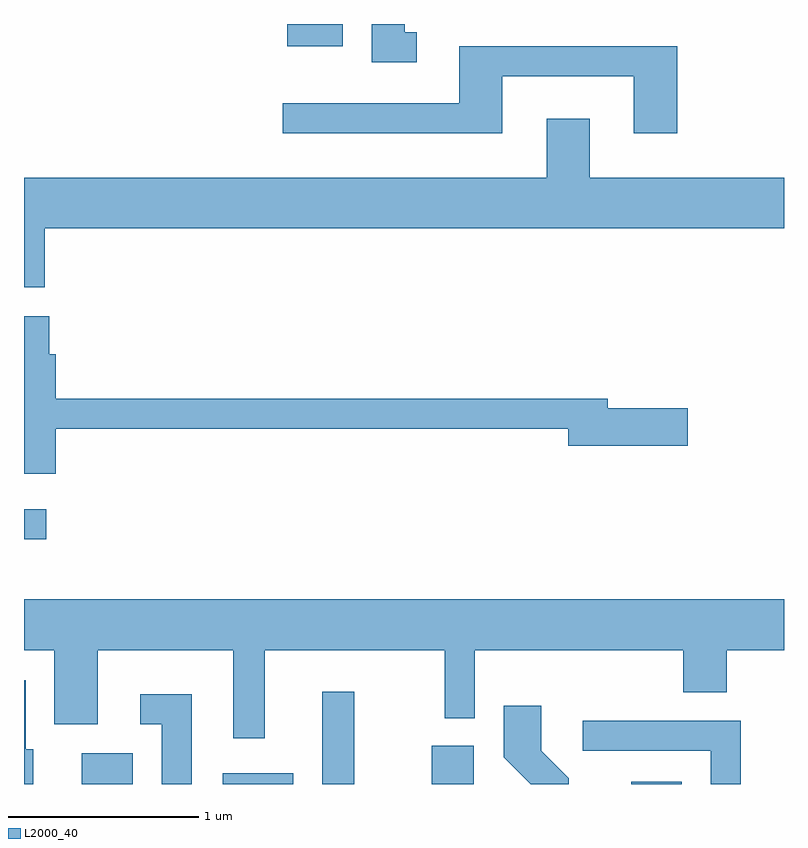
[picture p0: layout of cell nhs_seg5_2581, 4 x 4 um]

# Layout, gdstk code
import gdstk
lib = gdstk.Library(unit=1e-6, precision=1e-09)
def R(c, l, rs):  # rectangles x0, y0, x1, y1
    for r in rs: c.add(gdstk.rectangle(r[:2], r[2:], *l))
def P(c, l, *ps):  # polygons
    for p in ps: c.add(gdstk.Polygon(p, *l))
L2000_40 = (2000, 40)

nhs_seg5_2581 = lib.new_cell('nhs_seg5_2581')
R(nhs_seg5_2581, L2000_40, [(261.916,1476.072,262.184,1476.234), (262.656,1476.072,263.029,1476.129), (263.181,1476.072,263.349,1476.558), (263.756,1476.072,263.979,1476.274), (264.806,1476.072,265.074,1476.084), (261.611,1477.361,261.728,1477.519), (262.996,1479.956,263.289,1480.072)])
P(nhs_seg5_2581, L2000_40, [(263.678,1480.029),(263.614,1480.029),(263.614,1480.072),(263.441,1480.072),(263.441,1479.871),(263.678,1479.871)],
  [(264.129,1479.796),(264.821,1479.796),(264.821,1479.496),(265.049,1479.496),(265.049,1479.954),(263.901,1479.954),(263.901,1479.654),(262.973,1479.654),(262.973,1479.496),(264.129,1479.496)],
  [(261.719,1478.996),(265.611,1478.996),(265.611,1479.264),(264.589,1479.264),(264.589,1479.574),(264.361,1479.574),(264.361,1479.264),(261.611,1479.264),(261.611,1478.686),(261.719,1478.686)],
  [(261.779,1477.941),(264.476,1477.941),(264.476,1477.851),(265.104,1477.851),(265.104,1478.049),(264.684,1478.049),(264.684,1478.099),(261.779,1478.099),(261.779,1478.334),(261.744,1478.334),(261.744,1478.534),(261.611,1478.534),(261.611,1477.706),(261.779,1477.706)],
  [(262.879,1476.776),(263.826,1476.776),(263.826,1476.418),(263.984,1476.418),(263.984,1476.776),(265.081,1476.776),(265.081,1476.556),(265.309,1476.556),(265.309,1476.776),(265.611,1476.776),(265.611,1477.044),(261.611,1477.044),(261.611,1476.776),(261.771,1476.776),(261.771,1476.386),(261.999,1476.386),(261.999,1476.776),(262.711,1476.776),(262.711,1476.313),(262.879,1476.313)],
  [(261.659,1476.254),(261.619,1476.254),(261.619,1476.619),(261.611,1476.619),(261.611,1476.072),(261.659,1476.072)],
  [(262.494,1476.544),(262.223,1476.544),(262.223,1476.386),(262.336,1476.386),(262.336,1476.072),(262.494,1476.072)],
  [(264.479,1476.102),(264.334,1476.247),(264.334,1476.484),(264.136,1476.484),(264.136,1476.214),(264.278,1476.072),(264.479,1476.072)],
  [(265.384,1476.404),(264.553,1476.404),(264.553,1476.246),(265.226,1476.246),(265.226,1476.072),(265.384,1476.072)])

lib.write_gds('nhs_seg5_2581.gds')
